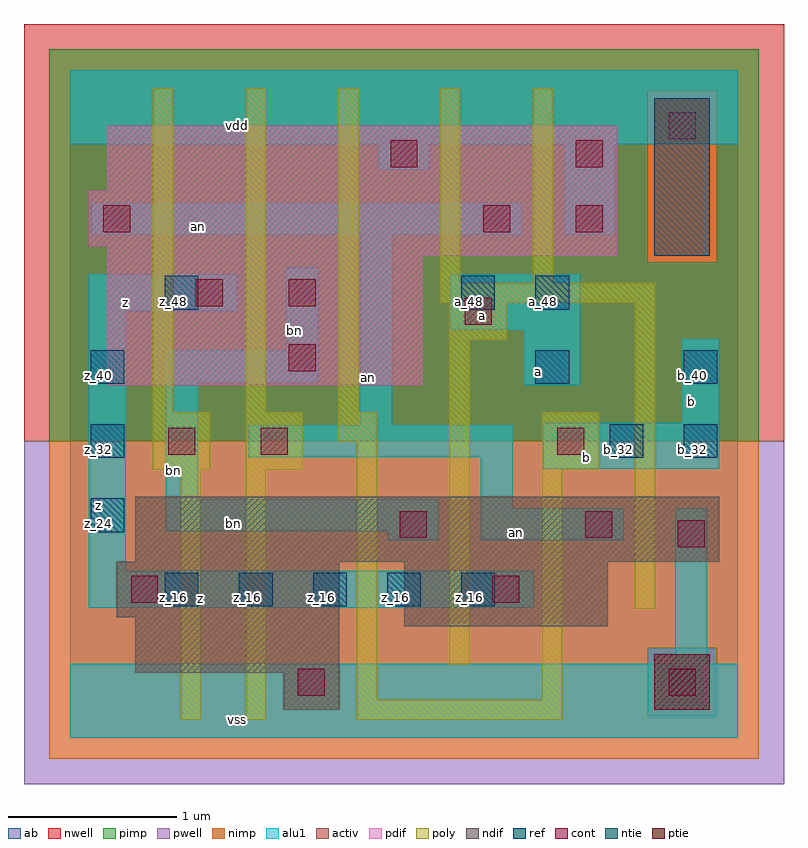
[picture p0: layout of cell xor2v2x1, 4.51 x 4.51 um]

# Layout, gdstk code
import gdstk
lib = gdstk.Library(unit=1e-6, precision=2.5e-09)
def R(c, l, rs):  # rectangles x0, y0, x1, y1
    for r in rs: c.add(gdstk.rectangle(r[:2], r[2:], *l))
def A(c, l, x, y, w, h, nx, ny, dx, dy):  # array of equal rectangles
    R(c, l, [(x+i*dx, y+j*dy, x+i*dx+w, y+j*dy+h) for i in range(nx) for j in range(ny)])
ndif = (3, 0)
pdif = (4, 0)
ntie = (5, 0)
ptie = (6, 0)
ref = (24, 0)
cont = (25, 0)
pwell = (41, 0)
nwell = (42, 0)
activ = (43, 0)
pimp = (44, 0)
nimp = (45, 0)
poly = (46, 0)
alu1 = (49, 0)
ab = (63, 0)

xor2v2x1 = lib.new_cell('xor2v2x1')
R(xor2v2x1, ndif, [(1.265,0.165,1.595,0.385), (0.385,0.385,1.595,0.715), (1.98,0.66,3.19,1.045), (0.275,0.715,1.595,1.045), (0.385,1.045,3.85,1.43)])
R(xor2v2x1, pdif, [(0.22,2.09,2.09,2.86), (0.22,2.86,3.245,2.915), (0.11,2.915,3.245,3.245), (0.22,3.245,3.245,3.63)])
R(xor2v2x1, ntie, [(3.465,2.86,3.795,3.795)])
R(xor2v2x1, ptie, [(3.465,0.165,3.795,0.495)])
A(xor2v2x1, ref, 0.56, 0.78, 0.2, 0.2, 5, 1, 0.44, 0)
A(xor2v2x1, ref, 0.12, 1.22, 0.2, 0.2, 1, 3, 0, 0.44)
R(xor2v2x1, ref, [(3.2,1.66,3.4,1.86), (3.64,1.66,3.84,1.86), (2.76,2.1,2.96,2.3), (3.64,2.1,3.84,2.3), (0.56,2.54,0.76,2.74), (2.32,2.54,2.52,2.74), (2.76,2.54,2.96,2.74)])
R(xor2v2x1, cont, [(1.35,0.25,1.51,0.41), (3.55,0.25,3.71,0.41), (0.36,0.8,0.52,0.96), (2.505,0.8,2.665,0.96), (3.605,1.13,3.765,1.29), (1.955,1.185,2.115,1.345), (3.055,1.185,3.215,1.345), (0.58,1.68,0.74,1.84), (1.13,1.68,1.29,1.84), (2.89,1.68,3.05,1.84), (1.295,2.175,1.455,2.335), (2.34,2.45,2.5,2.61), (0.745,2.56,0.905,2.72), (1.295,2.56,1.455,2.72), (0.195,3,0.355,3.16), (2.45,3,2.61,3.16), (3,3,3.16,3.16), (1.9,3.385,2.06,3.545), (3,3.385,3.16,3.545), (3.55,3.55,3.71,3.71)])
R(xor2v2x1, pwell, [(-0.275,-0.275,4.235,1.76)])
R(xor2v2x1, nwell, [(-0.275,1.76,4.235,4.235)])
R(xor2v2x1, activ, [(1.265,0.165,1.595,0.385), (3.465,0.165,3.795,0.495), (0.385,0.385,1.595,0.715), (1.98,0.66,3.19,1.045), (0.275,0.715,1.595,1.045), (0.385,1.045,3.85,1.43), (0.22,2.09,2.09,2.86), (0.22,2.86,3.245,2.915), (3.465,2.86,3.795,3.795), (0.11,2.915,3.245,3.245), (0.22,3.245,3.245,3.63)])
R(xor2v2x1, pimp, [(3.425,0.125,3.835,0.535), (-0.125,1.76,4.085,2.82), (-0.125,2.82,3.425,3.835), (3.835,2.82,4.085,3.835), (-0.125,3.835,4.085,4.085)])
R(xor2v2x1, nimp, [(-0.125,-0.125,4.085,0.125), (-0.125,0.125,3.425,0.535), (3.835,0.125,4.085,0.535), (-0.125,0.535,4.085,1.76), (3.425,2.82,3.835,3.835)])
A(xor2v2x1, poly, 0.49, 1.93, 0.12, 1.925, 3, 1, 0.55, 0)
R(xor2v2x1, poly, [(0.655,0.105,0.775,1.59), (1.04,0.105,1.16,1.59), (1.7,0.105,2.92,0.225), (1.7,0.225,1.82,1.755), (2.8,0.225,2.92,1.59), (2.25,0.435,2.37,2.36), (3.35,0.765,3.47,2.58), (0.49,1.59,0.83,1.93), (1.04,1.59,1.38,1.93), (2.8,1.59,3.14,1.93), (1.59,1.755,1.82,1.93), (2.25,2.36,2.59,2.58), (2.195,2.58,3.47,2.7), (2.195,2.7,2.315,3.855), (2.745,2.7,2.865,3.855)])
R(xor2v2x1, alu1, [(0,0,3.96,0.44), (3.59,0.44,3.78,1.36), (0.11,0.77,2.75,0.99), (0.11,0.99,0.33,2.53), (1.885,1.17,2.185,1.225), (2.435,1.17,3.285,1.36), (0.565,1.225,2.185,1.415), (2.435,1.36,2.625,1.665), (0.565,1.415,0.755,2.105), (2.805,1.595,3.85,1.87), (1.06,1.665,2.625,1.855), (1.72,1.855,1.91,2.985), (3.63,1.87,3.85,2.365), (2.695,2.09,3.025,2.42), (0.565,2.105,1.47,2.295), (1.28,2.295,1.47,2.79), (2.255,2.42,3.025,2.75), (0.11,2.53,0.99,2.75), (0.125,2.985,2.68,3.175), (2.93,2.985,3.23,3.52), (1.83,3.37,2.13,3.52), (0,3.52,3.96,3.96)])
R(xor2v2x1, ab, [(0,0,3.96,3.96)])
xor2v2x1.add(gdstk.Label('vss', (0.99,0.11), layer=49, texttype=0))
xor2v2x1.add(gdstk.Label('z', (0.77,0.825), layer=49, texttype=0))
xor2v2x1.add(gdstk.Label('an', (2.6475,1.2175), layer=49, texttype=0))
xor2v2x1.add(gdstk.Label('b', (3.065,1.6625), layer=49, texttype=0))
xor2v2x1.add(gdstk.Label('bn', (0.97,1.2725), layer=49, texttype=0))
xor2v2x1.add(gdstk.Label('b', (3.685,1.9925), layer=49, texttype=0))
xor2v2x1.add(gdstk.Label('a', (2.7775,2.1725), layer=49, texttype=0))
xor2v2x1.add(gdstk.Label('a', (2.4475,2.5025), layer=49, texttype=0))
xor2v2x1.add(gdstk.Label('an', (1.7675,2.1375), layer=49, texttype=0))
xor2v2x1.add(gdstk.Label('bn', (0.6125,1.5875), layer=49, texttype=0))
xor2v2x1.add(gdstk.Label('bn', (1.3275,2.4175), layer=49, texttype=0))
xor2v2x1.add(gdstk.Label('z', (0.165,1.375), layer=49, texttype=0))
xor2v2x1.add(gdstk.Label('z', (0.33,2.585), layer=49, texttype=0))
xor2v2x1.add(gdstk.Label('an', (0.7625,3.0325), layer=49, texttype=0))
xor2v2x1.add(gdstk.Label('vdd', (0.99,3.63), layer=49, texttype=0))
xor2v2x1.add(gdstk.Label('b_40', (3.69,2.15), layer=24, texttype=0))
xor2v2x1.add(gdstk.Label('b_32', (3.25,1.71), layer=24, texttype=0))
xor2v2x1.add(gdstk.Label('b_32', (3.69,1.71), layer=24, texttype=0))
xor2v2x1.add(gdstk.Label('a_48', (2.81,2.59), layer=24, texttype=0))
xor2v2x1.add(gdstk.Label('a_48', (2.37,2.59), layer=24, texttype=0))
xor2v2x1.add(gdstk.Label('z_16', (2.37,0.83), layer=24, texttype=0))
xor2v2x1.add(gdstk.Label('z_40', (0.17,2.15), layer=24, texttype=0))
xor2v2x1.add(gdstk.Label('z_32', (0.17,1.71), layer=24, texttype=0))
xor2v2x1.add(gdstk.Label('z_24', (0.17,1.27), layer=24, texttype=0))
xor2v2x1.add(gdstk.Label('z_16', (1.93,0.83), layer=24, texttype=0))
xor2v2x1.add(gdstk.Label('z_16', (1.49,0.83), layer=24, texttype=0))
xor2v2x1.add(gdstk.Label('z_16', (1.05,0.83), layer=24, texttype=0))
xor2v2x1.add(gdstk.Label('z_48', (0.61,2.59), layer=24, texttype=0))
xor2v2x1.add(gdstk.Label('z_16', (0.61,0.83), layer=24, texttype=0))
xor2v2x1.add(gdstk.Label('a_40', (2.81,2.15), layer=24, texttype=0))

lib.write_gds('xor2v2x1.gds')
